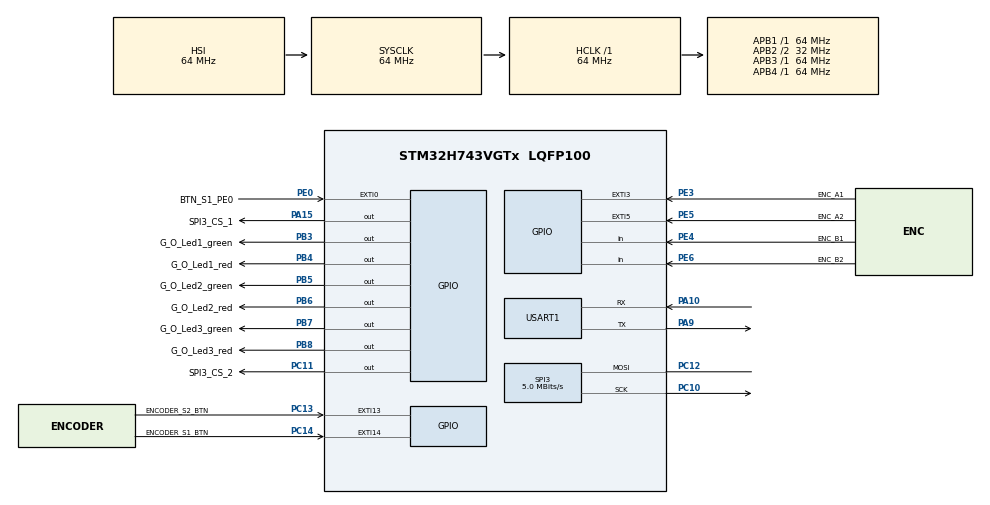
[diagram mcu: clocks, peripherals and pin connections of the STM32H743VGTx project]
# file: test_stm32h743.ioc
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CORTEX_M7.default_mode_Activation=1
Mcu.Family=STM32H7
Mcu.Name=STM32H743VGTx
Mcu.Package=LQFP100
NVIC.EXTI0_IRQn=true\:0\:0\:false\:false\:true\:true\:true\:true
NVIC.EXTI15_10_IRQn=true\:0\:0\:false\:false\:true\:true\:true\:true
NVIC.EXTI3_IRQn=true\:0\:0\:false\:false\:true\:true\:true\:true
NVIC.EXTI9_5_IRQn=true\:0\:0\:false\:false\:true\:true\:true\:true
NVIC.PriorityGroup=NVIC_PRIORITYGROUP_4
NVIC.USART1_IRQn=true\:0\:0\:false\:false\:true\:true\:true\:true
PA10.Mode=Asynchronous
PA10.Signal=USART1_RX
PA13\ (JTMS/SWDIO).Mode=Serial_Wire
PA13\ (JTMS/SWDIO).Signal=DEBUG_JTMS-SWDIO
PA14\ (JTCK/SWCLK).Mode=Serial_Wire
PA14\ (JTCK/SWCLK).Signal=DEBUG_JTCK-SWCLK
PA15\ (JTDI).GPIO_Label=SPI3_CS_1
PA15\ (JTDI).Signal=GPIO_Output
PA9.Mode=Asynchronous
PA9.Signal=USART1_TX
PB3\ (JTDO/TRACESWO).GPIO_Label=G_O_Led1_green
PB3\ (JTDO/TRACESWO).Signal=GPIO_Output
PB4\ (NJTRST).GPIO_Label=G_O_Led1_red
PB4\ (NJTRST).Signal=GPIO_Output
PB5.GPIO_Label=G_O_Led2_green
PB5.Signal=GPIO_Output
PB6.GPIO_Label=G_O_Led2_red
PB6.Signal=GPIO_Output
PB7.GPIO_Label=G_O_Led3_green
PB7.Signal=GPIO_Output
PB8.GPIO_Label=G_O_Led3_red
PB8.Signal=GPIO_Output
PC10.Mode=Simplex_Bidirectional_Master
PC10.Signal=SPI3_SCK
PC11.GPIO_Label=SPI3_CS_2
PC11.Signal=GPIO_Output
PC12.Mode=Simplex_Bidirectional_Master
PC12.Signal=SPI3_MOSI
PC13.GPIO_Label=ENCODER_S2_BTN
PC13.GPIO_PuPd=GPIO_PULLUP
PC13.Signal=GPXTI13
PC14-OSC32_IN\ (OSC32_IN).GPIO_Label=ENCODER_S1_BTN
PC14-OSC32_IN\ (OSC32_IN).GPIO_PuPd=GPIO_PULLUP
PC14-OSC32_IN\ (OSC32_IN).Signal=GPXTI14
PE0.GPIO_Label=BTN_S1_PE0
PE0.GPIO_PuPd=GPIO_PULLUP
PE0.Signal=GPXTI0
PE3.GPIO_Label=ENC_A1
PE3.GPIO_ModeDefaultEXTI=GPIO_MODE_IT_RISING
PE3.Signal=GPXTI3
PE4.GPIO_Label=ENC_B1
PE4.Signal=GPIO_Input
PE5.GPIO_Label=ENC_A2
PE5.GPIO_ModeDefaultEXTI=GPIO_MODE_IT_RISING
PE5.Signal=GPXTI5
PE6.GPIO_Label=ENC_B2
PE6.Signal=GPIO_Input
ProjectManager.HeapSize=0x400
ProjectManager.StackSize=0x800
ProjectManager.TargetToolchain=STM32CubeIDE
RCC.ADCFreq_Value=129000000
RCC.APB1Freq_Value=64000000
RCC.APB2Freq_Value=32000000
RCC.APB3Freq_Value=64000000
RCC.APB4Freq_Value=64000000
RCC.CortexFreq_Value=64000000
RCC.D2PPRE2=RCC_APB2_DIV2
RCC.DIVM1=4
RCC.DIVN1=10
RCC.HCLKFreq_Value=64000000
RCC.PLLFRACN=0
RCC.SYSCLKFreq_VALUE=64000000
RCC.USBFreq_Value=80000000
SPI3.BaudRatePrescaler=SPI_BAUDRATEPRESCALER_16
SPI3.CalculateBaudRate=5.0 MBits/s
SPI3.DataSize=SPI_DATASIZE_16BIT
SPI3.Direction=SPI_DIRECTION_1LINE
SPI3.Mode=SPI_MODE_MASTER
SPI3.VirtualType=VM_MASTER
USART1.VirtualMode-Asynchronous=VM_ASYNC
VP_MEMORYMAP_VS_MEMORYMAP.Mode=CurAppReg
board=custom

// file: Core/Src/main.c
/* USER CODE BEGIN Header */
/**
  ******************************************************************************
  * @file           : main.c
  * @brief          : Main program body
  ******************************************************************************
  * @attention
  *
  * Copyright (c) 2026 STMicroelectronics.
  * All rights reserved.
  *
  * This software is licensed under terms that can be found in the LICENSE file
  * in the root directory of this software component.
  * If no LICENSE file comes with this software, it is provided AS-IS.
  *
  ******************************************************************************
  */
/* USER CODE END Header */
#include "main.h"
#include "spi.h"
#include "usart.h"
#include "gpio.h"

/* USER CODE BEGIN Includes */
#include <sys/time.h>

#include "max7219.h"
#include "led_functional.h"
#include "encoder_functional.h"
#include "buttons_functional.h"
/* USER CODE END Includes */

/* USER CODE BEGIN PD */
#define INDICATORS_MODE 2
#define INDICATORS_MODULE 2
#define INDICATORS_POSITION 4
/* USER CODE END PD */

/* USER CODE BEGIN PV */
uint8_t interrupt_status = 0;
volatile uint8_t rx_byte;

uint8_t indicator_data[INDICATORS_MODE][INDICATORS_MODULE][INDICATORS_POSITION] = {0}; // Mask position - [0][0] - 6, 2, 3, 4 ; [0][1] - 7, 5, 1, 0 ;

uint16_t ampere_data = 1661;
uint16_t voltage_data = 2323;

FlagsStatus periphery_status = {0};

static uint32_t last_press_btn1 = 0;
static uint32_t last_signal_edit_mode = 0;
static uint8_t blink_set_state = 0;
/* USER CODE END PV */

void SystemClock_Config(void);
static void MPU_Config(void);

/* USER CODE BEGIN 0 */
// const uint8_t segmentMap[] = {
//   0b00111111, // 0
//   0b00000110, // 1
//   0b01011011, // 2
//   0b01001111, // 3
//   0b01100110, // 4
//   0b01101101, // 5
//   0b01111101, // 6
//   0b00000111, // 7
//   0b01111111, // 8
//   0b01101111  // 9
// };
/* USER CODE END 0 */

int main(void)
{

  /* MPU Configuration--------------------------------------------------------*/
  MPU_Config();

  /* MCU Configuration--------------------------------------------------------*/

  /* Reset of all peripherals, Initializes the Flash interface and the Systick. */
  HAL_Init();

  /* Configure the system clock */
  SystemClock_Config();
  //hello test !!!!!!

  /* Initialize all configured peripherals */
  MX_GPIO_Init();
  MX_SPI3_Init();
  MX_USART1_UART_Init();
  /* USER CODE BEGIN 2 */
  if (hspi3.State != HAL_SPI_STATE_READY) {
    // Если SPI не готов, зажигаем светодиод ошибки
    HAL_GPIO_WritePin(GPIOB, GPIO_PIN_3, GPIO_PIN_SET);
    while(1);  // Останавливаемся здесь
  }

  HAL_GPIO_TogglePin(GPIOB, GPIO_PIN_3);
  HAL_Delay(100);
  HAL_GPIO_TogglePin(GPIOB, GPIO_PIN_3);
  HAL_Delay(100);

  // Инициализация MAX7219
  MAX7219_Init(CS_GPIO_Port_A, CS_Pin_A15);
  MAX7219_Init(CS_GPIO_Port_C, CS_Pin_C11);

  //test
  MAX7219_Write(MAX7219_REG_DISPLAY_TEST, 0x01, CS_GPIO_Port_A, CS_Pin_A15);
  MAX7219_Write(MAX7219_REG_DISPLAY_TEST, 0x01, CS_GPIO_Port_C, CS_Pin_C11);
  HAL_Delay(2000);
  MAX7219_Write(MAX7219_REG_DISPLAY_TEST, 0x00, CS_GPIO_Port_A, CS_Pin_A15);
  MAX7219_Write(MAX7219_REG_DISPLAY_TEST, 0x00, CS_GPIO_Port_C, CS_Pin_C11);
  HAL_Delay(500);

  epos_startup();
  HAL_Delay(2000);
  MAX7219_Clear_not_decode(CS_GPIO_Port_A, CS_Pin_A15);
  MAX7219_Clear_decode(CS_GPIO_Port_C, CS_Pin_C11);
  MAX7219_Write(MAX7219_REG_DECODE_MODE, 0xFF, CS_GPIO_Port_A, CS_Pin_A15);

  HAL_Delay(1000);

  for (uint8_t i = 0; i < 8; i++) {
    MAX7219_SendDigit(i,0,CS_GPIO_Port_A,CS_Pin_A15);
    MAX7219_SendDigit(i,0,CS_GPIO_Port_C,CS_Pin_C11);
  }
  MAX7219_SendDigit(2, 0x80, CS_GPIO_Port_A, CS_Pin_A15);
  MAX7219_SendDigit(5, 0x80, CS_GPIO_Port_A, CS_Pin_A15);

// инициализация данных для get_ampere, запись в буфер

  // indicate_ampere_get_init(test_ampere);
  // indicate_voltage_get_init(test_voltage);
  indicate_set_init(indicator_data, ampere_data, voltage_data);
  MAX7219_UpdateDisplay(indicator_data, MODE_SET, AMPERE);
  MAX7219_UpdateDisplay(indicator_data, MODE_SET, VOLTAGE);

  HAL_Delay(500); // timeout before interrup ON
  interrupt_status = 1; // interrupt ON
  // HAL_UART_Receive_IT(&huart1, &rx_byte, 1);
  /* USER CODE END 2 */

  /* Infinite loop */
  /* USER CODE BEGIN WHILE */

  // HAL_Delay не позволительно

  while (1)
  {

    // if (status_mode == 1) {
    //
    //   if (position_on_mode_edit == 1) {
    //     MAX7219_SendDigit(set_number_for_get_ampere(), buffer_decode_variables_ampere[position_on_mode_edit], CS_GPIO_Port_A, CS_Pin_A15);
    //     HAL_Delay(300);
    //     MAX7219_SendDigit(set_number_for_get_ampere(), 0x0F, CS_GPIO_Port_A, CS_Pin_A15);
    //     HAL_Delay(300);
    //   } else {
    //     MAX7219_SendDigit(set_number_for_get_ampere(), buffer_decode_variables_ampere[get_number_for_get_ampere()], CS_GPIO_Port_A, CS_Pin_A15);
    //     HAL_Delay(300);
    //     MAX7219_SendDigit(set_number_for_get_ampere(), 0x0F, CS_GPIO_Port_A, CS_Pin_A15);
    //     HAL_Delay(300);
    //   }
    // } else {
    //   if (position_on_mode_edit == 1) {
    //     MAX7219_SendDigitWithDP(set_number_for_get_ampere(), buffer_decode_variables_ampere[get_number_for_get_ampere()], CS_GPIO_Port_A, CS_Pin_A15);
    //   } else {
    //     MAX7219_SendDigit(set_number_for_get_ampere(), buffer_decode_variables_ampere[get_number_for_get_ampere()], CS_GPIO_Port_A, CS_Pin_A15);
    //   }
    // }

    if (periphery_status.status_encoder_1) {
      uint32_t current_time_sig = HAL_GetTick();

      led1_set_state(3);

      if (current_time_sig - last_signal_edit_mode >= 350) {
        last_signal_edit_mode = current_time_sig;
        blink_set_state = !blink_set_state;
      }

      if (blink_set_state) {
       MAX7219_SendDigit(MAX7219_DetectedPosition(AMPERE, position_on_mode_edit), 0x0F, CS_GPIO_Port_A, CS_Pin_A15);
      } else {
        MAX7219_UpdateDisplay(indicator_data, MODE_SET, AMPERE);
      }

    } else {
      led1_set_state(4);

      MAX7219_UpdateDisplay(indicator_data, MODE_SET, AMPERE);
    }

    if (periphery_status.status_encoder_2) {
      uint32_t current_time_sig = HAL_GetTick();

      led1_set_state(3);
      if (current_time_sig - last_signal_edit_mode >= 350) {
        last_signal_edit_mode = current_time_sig;
        blink_set_state = !blink_set_state;
      }

      if (blink_set_state) {
        MAX7219_SendDigit(MAX7219_DetectedPosition(VOLTAGE, position_on_mode_edit), 0x0F, CS_GPIO_Port_A, CS_Pin_A15);
      } else {
        MAX7219_UpdateDisplay(indicator_data, MODE_SET, VOLTAGE);
      }

    } else {
      led1_set_state(4);

      MAX7219_UpdateDisplay(indicator_data, MODE_SET, VOLTAGE);
    }

    // if (status_mode == 2) {
    //
    //   if (position_on_mode_edit == 1) {
    //     MAX7219_SendDigit(set_number_for_get_voltage(), buffer_decode_variables_voltage[position_on_mode_edit], CS_GPIO_Port_A, CS_Pin_A15);
    //     HAL_Delay(300);
    //     MAX7219_SendDigit(set_number_for_get_voltage(), 0x0F, CS_GPIO_Port_A, CS_Pin_A15);
    //     HAL_Delay(300);
    //   } else {
    //     MAX7219_SendDigit(set_number_for_get_voltage(), buffer_decode_variables_voltage[get_number_for_get_voltage()], CS_GPIO_Port_A, CS_Pin_A15);
    //     HAL_Delay(300);
    //     MAX7219_SendDigit(set_number_for_get_voltage(), 0x0F, CS_GPIO_Port_A, CS_Pin_A15);
    //     HAL_Delay(300);
    //   }
    //
    // } else {
    //   if (position_on_mode_edit == 1) {
    //     MAX7219_SendDigitWithDP(set_number_for_get_voltage(), buffer_decode_variables_voltage[get_number_for_get_voltage()], CS_GPIO_Port_A, CS_Pin_A15);
    //   } else {
    //     MAX7219_SendDigit(set_number_for_get_voltage(), buffer_decode_variables_voltage[get_number_for_get_voltage()], CS_GPIO_Port_A, CS_Pin_A15);
    //   }
    // }

    led2_set_state(2);
    led3_set_state(3);
    /* USER CODE END WHILE */

  }
}

void SystemClock_Config(void)
{
  RCC_OscInitTypeDef RCC_OscInitStruct = {0};
  RCC_ClkInitTypeDef RCC_ClkInitStruct = {0};

  /** Supply configuration update enable
  */
  HAL_PWREx_ConfigSupply(PWR_LDO_SUPPLY);

  /** Configure the main internal regulator output voltage
  */
  __HAL_PWR_VOLTAGESCALING_CONFIG(PWR_REGULATOR_VOLTAGE_SCALE3);

  while(!__HAL_PWR_GET_FLAG(PWR_FLAG_VOSRDY)) {}

  /** Initializes the RCC Oscillators according to the specified parameters
  * in the RCC_OscInitTypeDef structure.
  */
  RCC_OscInitStruct.OscillatorType = RCC_OSCILLATORTYPE_HSI;
  RCC_OscInitStruct.HSIState = RCC_HSI_DIV1;
  RCC_OscInitStruct.HSICalibrationValue = RCC_HSICALIBRATION_DEFAULT;
  RCC_OscInitStruct.PLL.PLLState = RCC_PLL_ON;
  RCC_OscInitStruct.PLL.PLLSource = RCC_PLLSOURCE_HSI;
  RCC_OscInitStruct.PLL.PLLM = 4;
  RCC_OscInitStruct.PLL.PLLN = 10;
  RCC_OscInitStruct.PLL.PLLP = 2;
  RCC_OscInitStruct.PLL.PLLQ = 2;
  RCC_OscInitStruct.PLL.PLLR = 2;
  RCC_OscInitStruct.PLL.PLLRGE = RCC_PLL1VCIRANGE_3;
  RCC_OscInitStruct.PLL.PLLVCOSEL = RCC_PLL1VCOMEDIUM;
  RCC_OscInitStruct.PLL.PLLFRACN = 0;
  if (HAL_RCC_OscConfig(&RCC_OscInitStruct) != HAL_OK)
  {
    Error_Handler();
  }

  /** Initializes the CPU, AHB and APB buses clocks
  */
  RCC_ClkInitStruct.ClockType = RCC_CLOCKTYPE_HCLK|RCC_CLOCKTYPE_SYSCLK
                              |RCC_CLOCKTYPE_PCLK1|RCC_CLOCKTYPE_PCLK2
                              |RCC_CLOCKTYPE_D3PCLK1|RCC_CLOCKTYPE_D1PCLK1;
  RCC_ClkInitStruct.SYSCLKSource = RCC_SYSCLKSOURCE_HSI;
  RCC_ClkInitStruct.SYSCLKDivider = RCC_SYSCLK_DIV1;
  RCC_ClkInitStruct.AHBCLKDivider = RCC_HCLK_DIV1;
  RCC_ClkInitStruct.APB3CLKDivider = RCC_APB3_DIV1;
  RCC_ClkInitStruct.APB1CLKDivider = RCC_APB1_DIV1;
  RCC_ClkInitStruct.APB2CLKDivider = RCC_APB2_DIV2;
  RCC_ClkInitStruct.APB4CLKDivider = RCC_APB4_DIV1;

  if (HAL_RCC_ClockConfig(&RCC_ClkInitStruct, FLASH_LATENCY_1) != HAL_OK)
  {
    Error_Handler();
  }
}

/* USER CODE BEGIN 4 */
void HAL_GPIO_EXTI_Callback(uint16_t GPIO_Pin) {
  if (interrupt_status == 1) {

    if (GPIO_Pin == ENCODER_S1_BTN_Pin) {
      // encoder_1_button_pressed(&status_mode, &position_on_mode_edit);
      periphery_status.status_press_encder_1 = !periphery_status.status_press_encder_1;
      periphery_status.status_encoder_1 = !periphery_status.status_encoder_1;

      if (periphery_status.status_press_encder_2) {
        periphery_status.status_encoder_2 = !periphery_status.status_encoder_2;
        periphery_status.status_press_encder_2 = 0;
      }

      position_on_mode_edit = 0;
    }

    if (GPIO_Pin == ENCODER_S2_BTN_Pin) {
      periphery_status.status_press_encder_2 = !periphery_status.status_press_encder_2;
      periphery_status.status_encoder_2 = !periphery_status.status_encoder_2;

      if (periphery_status.status_press_encder_1) {
        periphery_status.status_encoder_1 = !periphery_status.status_encoder_1;
        periphery_status.status_press_encder_1 = 0;
      }

      position_on_mode_edit = 0;
      // encoder_2_button_pressed(&status_mode, &position_on_mode_edit);
    }

// In Work !!!
    if (GPIO_Pin == ENC_A1_Pin && periphery_status.status_encoder_1) {
      encoder_1_init(indicator_data, MODE_SET, AMPERE);
      // MAX7219_UpdateDisplay(indicator_data, MODE_SET, AMPERE);
    }
    if (GPIO_Pin == ENC_A2_Pin && periphery_status.status_encoder_2) {
      encoder_2_init(indicator_data, MODE_SET, VOLTAGE);
      // MAX7219_UpdateDisplay(indicator_data, MODE_SET, VOLTAGE);
    }

    if (GPIO_Pin == BTN_S1_PE0_Pin && (periphery_status.status_encoder_1 || periphery_status.status_encoder_2)) {
      // switch_position_for_set_ampere();
      uint32_t current_time = HAL_GetTick();

      if (current_time - last_press_btn1 > 100) {
        last_press_btn1 = current_time;

        position_on_mode_edit++;

        if (position_on_mode_edit >= 4) {
          position_on_mode_edit = 0;
        }
      }
    } //else if (GPIO_Pin == BTN_S1_PE0_Pin && status_mode == 2) {
      // switch_position_for_set_voltage();
    // }

  }

}

// void HAL_UART_RxCpltCallback(UART_HandleTypeDef *huart) {
//   if (huart->Instance == USART1) {
//
//
//
//     HAL_UART_Receive_IT(&huart1, &rx_byte, 1);
//   }
// }
/* USER CODE END 4 */

 /* MPU Configuration */

void MPU_Config(void)
{
  MPU_Region_InitTypeDef MPU_InitStruct = {0};

  /* Disables the MPU */
  HAL_MPU_Disable();

  /** Initializes and configures the Region and the memory to be protected
  */
  MPU_InitStruct.Enable = MPU_REGION_ENABLE;
  MPU_InitStruct.Number = MPU_REGION_NUMBER0;
  MPU_InitStruct.BaseAddress = 0x0;
  MPU_InitStruct.Size = MPU_REGION_SIZE_4GB;
  MPU_InitStruct.SubRegionDisable = 0x87;
  MPU_InitStruct.TypeExtField = MPU_TEX_LEVEL0;
  MPU_InitStruct.AccessPermission = MPU_REGION_NO_ACCESS;
  MPU_InitStruct.DisableExec = MPU_INSTRUCTION_ACCESS_DISABLE;
  MPU_InitStruct.IsShareable = MPU_ACCESS_SHAREABLE;
  MPU_InitStruct.IsCacheable = MPU_ACCESS_NOT_CACHEABLE;
  MPU_InitStruct.IsBufferable = MPU_ACCESS_NOT_BUFFERABLE;

  HAL_MPU_ConfigRegion(&MPU_InitStruct);
  /* Enables the MPU */
  HAL_MPU_Enable(MPU_PRIVILEGED_DEFAULT);

}

void Error_Handler(void)
{
  __disable_irq();
  while (1)
  {
  }
}
